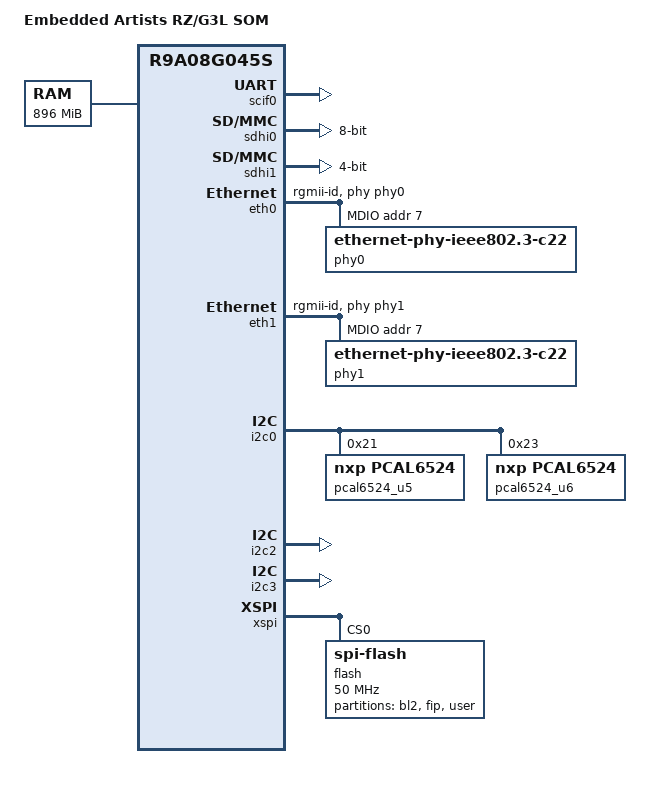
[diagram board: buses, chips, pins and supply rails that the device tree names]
// SPDX-License-Identifier: GPL-2.0
/*
 * Device Tree Source for the RZ/G3L Developer's Kit
 *
 * Copyright (C) 2026 Embedded Artists AB
 */

/dts-v1/;
#include <dt-bindings/gpio/gpio.h>
#include "r9a08g046.dtsi"
#include "r9a08g046-u-boot.dtsi"
#include <dt-bindings/pinctrl/rzg2l-pinctrl.h>

/ {
	model = "Embedded Artists RZ/G3L SOM";
	compatible = "renesas,r9a08g045s", "renesas,rzg3s";

	aliases {
		serial0 = &scif0;
		spi0 = &xspi;
	};

	chosen {
		stdout-path = "serial0:115200n8";
	};

	memory@48000000 {
		device_type = "memory";
		/* first 128MB is reserved for secure area. */
		reg = <0 0x48000000 0 0x38000000>;
	};
};

&xinclk {
	clock-frequency = <24000000>;
};

&scif0 {
	status = "okay";
	clock = <100000000>;
};

&sdhi0 {
	bus-width = <8>;
	status = "okay";
};

&sdhi1 {
	bus-width = <4>;
	status = "okay";
};

&eth0 {
	status = "okay";
	phy-handle = <&phy0>;
	phy-mode = "rgmii-id";

	mdio {
		#address-cells = <1>;
		#size-cells = <0>;

		phy0: ethernet-phy@7 {
			compatible = "ethernet-phy-ieee802.3-c22";
			reg = <7>;
			txc-skew-ps = <1700>;
			txen-skew-ps = <(-700)>;
			txd0-skew-ps = <0>;
			txd1-skew-ps = <0>;
			txd2-skew-ps = <0>;
			txd3-skew-ps = <0>;
		};
	};
};

&eth1 {
	status = "okay";
	phy-handle = <&phy1>;
	phy-mode = "rgmii-id";

	mdio {
		#address-cells = <1>;
		#size-cells = <0>;

		phy1: ethernet-phy@7 {
			compatible = "ethernet-phy-ieee802.3-c22";
			reg = <7>;
			txc-skew-ps = <1700>;
			txen-skew-ps = <(-700)>;
			txd0-skew-ps = <0>;
			txd1-skew-ps = <0>;
			txd2-skew-ps = <0>;
			txd3-skew-ps = <0>;
		};
	};
};

&i2c0 {
	status = "okay";

	pcal6524_u5: gpio@21 {
		compatible = "nxp,pcal6524";
		reg = <0x21>;
		gpio-controller;
		#gpio-cells = <2>;

		gpio-line-names = "M2E_WL_REG_ON_3V3", "M2E_WL_DEV_WAKE", "M2E_WL_HOST_WAKE", "M2E_BT_REG_ON",
			"M2E_BT_DEV_WAKE", "M2E_BT_HOST_WAKE", "M2E_SDIO_RST", "M2E_PERST",
			"M2E_PEWAKE", "M2E_ALERT", "M2E_PWR_EN", "M2B_PWR_OFF",
			"M2B_WDISABLE", "M2B_PEWAKE", "M2B_PERST", "M2M_PERST",
			"M2M_PEWAKE", "M2BM_PWR_EN", "M2B_RESET", "SE050_EN_RST",
			"SLS32AIA_RST", "I2C_EXT_IRQ", "I2C_EXT_RST", "MIPI_RST";

	};

	pcal6524_u6: gpio@23 {
		compatible = "nxp,pcal6524";
		reg = <0x23>;
		gpio-controller;
		#gpio-cells = <2>;
		gpio-line-names = "CSI0_RST-DATA", "CSI0_PWR-CLK", "CSI1_RST-DATA", "CSI1_PWR-CLK",
			"MIPI_CTP_RST", "MIPI_CTP_IRQ", "RGB_BL_PWR", "RGB_CTP_RST",
			"RGB_CTP_IRQ", "MIPI_BL_PWR_EN", "ADV_IRQ", "",
			"", "", "", "RGB_LED_RED",
			"RGB_LED_BLUE", "RGB_LED_GREEN", "USER_LED_RED", "USER_LED_GREEN",
			"USER_LED_YELLOW", "USER_BUTTON1", "USER_BUTTON2", "USER_BUTTON3";
	};
};

&i2c2 {
	status = "okay";
};

&i2c3 {
	status = "okay";
};

&xspi {
	status = "okay";

	flash@0 {
		compatible = "spi-flash", "jedec,spi-nor";
		reg = <0>;
		m25p,fast-read;
		spi-max-frequency = <50000000>;
		spi-tx-bus-width = <1>;
		spi-rx-bus-width = <1>;

		partitions {
			compatible = "fixed-partitions";
			#address-cells = <1>;
			#size-cells = <1>;

			partition@0 {
				label = "bl2";
				reg = <0x00000000 0x00060000>;
			};

			partition@60000 {
				label = "fip";
				reg = <0x00060000 0x007A0000>;
			};

			partition@800000 {
				label = "user";
				reg = <0x800000 0x800000>;
			};
		};
	};
};
